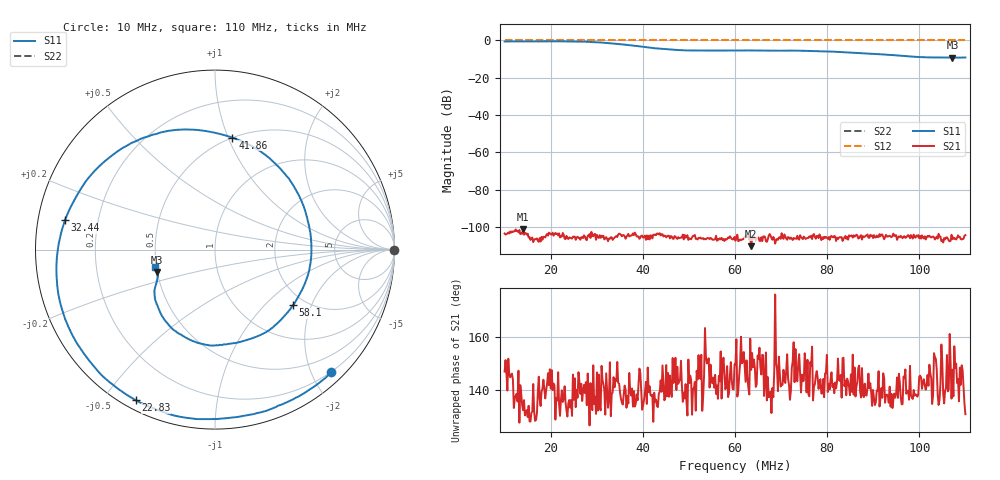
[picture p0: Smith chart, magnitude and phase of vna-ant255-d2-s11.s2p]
! Anritsu VNA Master:  Model: MS2034B/10/19/501
! SN:  1337062
! /bd0/ovro-jan-2016/vna-jan/vna-ant255-d1-s11.s2p
! Existing Calibration Information:
! TYPE:  Current Settings,  Active Cal Settings
! TIME:  01/13/2016 03:13:36 PM,  01/13/2016 02:51:14 PM
! INTERNAL TEMP:  35.0 C,  37.8 C
! # POINTS:  500,  500
! START FREQ:  10.000 MHz,  10.000 MHz
! STOP FREQ:  110.000 MHz,  110.000 MHz
! SOURCE POWER:  High,  High
! IFBW:  100 Hz,  100 Hz
! AVG FACTOR:  4 ,  4
! REF PLANE 1:  0 mm,  0 mm
! REF PLANE 2:  0 mm,  0 mm
! CAL TYPE:  Full S11,  Full S11
! CAL METHOD:  SOLT,  SOLT
! CAL LINE TYPE:  Coax,  Coax
! DUT PORT 1:  K-Conn(M),  K-Conn(M)
! DUT PORT 2:  N-Conn(M),  N-Conn(M)
! CAL STATUS:  OK: Accuracy High,  --
# GHZ S DB R 50.0
! FREQ.GHZ  S11DB  S11A  S21DB  S21A  S12DB  S12A  S22DB  S22A
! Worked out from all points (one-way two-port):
!   500 points, 10 MHz to 110 MHz, reference 50 ohm
!   highest |S21| = -101.16 dB at 14.01 MHz (marker M1); lowest = -110.2 dB at 63.51 MHz (marker M2)
!   lowest |S11| = -9.2 dB at 107.2 MHz (marker M3), VSWR 2.06, Z = 25 - j7.11 ohm
!   |S11| at or under -10 dB: nowhere
!   |S22| runs from 0.0 to 0.0 dB; largest |S21 - S12| = 1
!   S11 on the Smith chart (normalised r, x): 10 MHz: 0.20, -2.31; 22.83 MHz: 0.04, -0.60; 32.44 MHz: 0.08, +0.10; 41.86 MHz: 0.50, +1.04; 58.1 MHz: 1.73, -1.49; 110 MHz: 0.49, -0.11
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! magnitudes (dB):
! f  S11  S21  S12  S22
! 10 MHz  -0.6  -103.4  0.0  0.0
! 14.01 MHz  -0.5  -101.2  0.0  0.0
! 22.83 MHz  -0.5  -104.1  0.0  0.0
! 26.83 MHz  -0.6  -105.4  0.0  0.0
! 29.24 MHz  -0.8  -104.9  0.0  0.0
! 32.44 MHz  -1.4  -107.5  0.0  0.0
! 36.45 MHz  -2.3  -105.2  0.0  0.0
! 41.86 MHz  -4.0  -104.6  0.0  0.0
! 43.47 MHz  -4.4  -103.9  0.0  0.0
! 45.47 MHz  -4.8  -104.6  0.0  0.0
! 49.28 MHz  -5.3  -105.7  0.0  0.0
! 58.1 MHz  -5.4  -106.7  0.0  0.0
! 60.1 MHz  -5.4  -107.3  0.0  0.0
! 63.51 MHz  -5.4  -110.2  0.0  0.0
! 72.53 MHz  -5.4  -106.9  0.0  0.0
! 76.73 MHz  -5.6  -106.4  0.0  0.0
! 82.14 MHz  -6.1  -105.7  0.0  0.0
! 93.37 MHz  -7.7  -104.8  0.0  0.0
! 99.38 MHz  -8.8  -104.5  0.0  0.0
! 101.8 MHz  -9.1  -104.7  0.0  0.0
! 107.2 MHz  -9.2  -106.5  0.0  0.0
! 110 MHz  -9.1  -104.3  0.0  0.0
